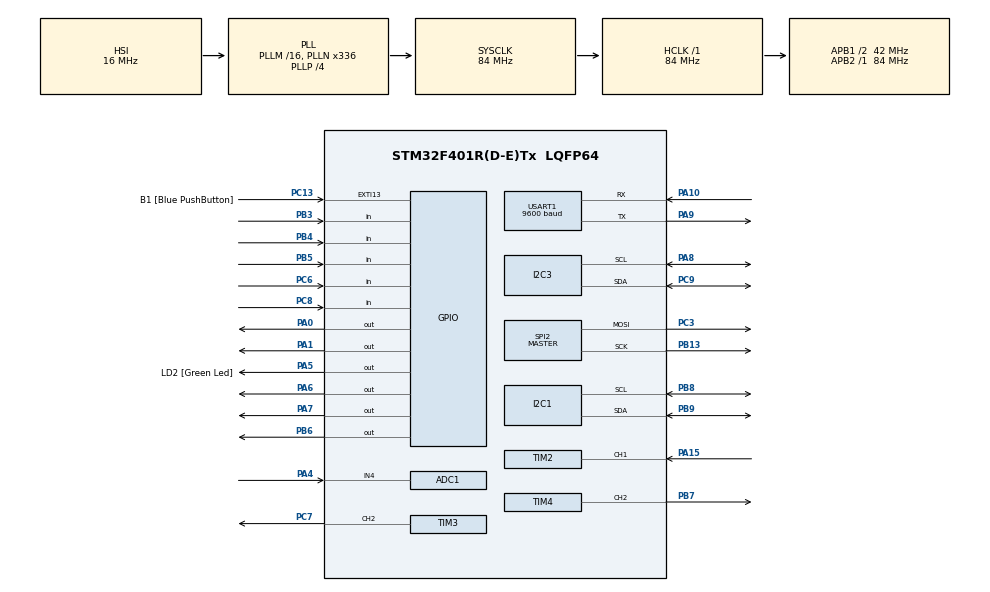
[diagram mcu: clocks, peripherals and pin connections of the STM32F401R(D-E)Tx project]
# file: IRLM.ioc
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ADC1.Channel-1\#ChannelRegularConversion=ADC_CHANNEL_4
ADC1.ClockPrescaler=ADC_CLOCK_SYNC_PCLK_DIV8
ADC1.InjNumberOfConversion=0
ADC1.NbrOfConversionFlag=1
ADC1.Rank-1\#ChannelRegularConversion=1
ADC1.Resolution=ADC_RESOLUTION_12B
ADC1.SamplingTime-1\#ChannelRegularConversion=ADC_SAMPLETIME_28CYCLES
ADC1.master=1
Mcu.Family=STM32F4
Mcu.Name=STM32F401R(D-E)Tx
Mcu.Package=LQFP64
NVIC.PriorityGroup=NVIC_PRIORITYGROUP_0
NVIC.TIM2_IRQn=true\:0\:0\:false\:false\:true\:true\:true\:true
NVIC.TIM5_IRQn=true\:0\:0\:false\:false\:true\:true\:true\:true
NVIC.USART1_IRQn=true\:0\:0\:false\:false\:true\:true\:true\:true
PA0-WKUP.Signal=GPIO_Output
PA1.Signal=GPIO_Output
PA10.Mode=Asynchronous
PA10.Signal=USART1_RX
PA15.Signal=S_TIM2_CH1_ETR
PA2.Signal=USART2_TX
PA3.Signal=USART2_RX
PA4.Signal=ADCx_IN4
PA5.GPIO_Label=LD2 [Green Led]
PA5.GPIO_PuPd=GPIO_NOPULL
PA5.GPIO_Speed=GPIO_SPEED_FREQ_LOW
PA5.Signal=GPIO_Output
PA6.Signal=GPIO_Output
PA7.Signal=GPIO_Output
PA8.Mode=I2C
PA8.Signal=I2C3_SCL
PA9.Mode=Asynchronous
PA9.Signal=USART1_TX
PB13.Mode=TX_Only_Simplex_Unidirect_Master
PB13.Signal=SPI2_SCK
PB3.GPIO_PuPd=GPIO_PULLUP
PB3.Signal=GPIO_Input
PB4.GPIO_PuPd=GPIO_PULLUP
PB4.Signal=GPIO_Input
PB5.GPIO_PuPd=GPIO_PULLUP
PB5.Signal=GPIO_Input
PB6.Signal=GPIO_Output
PB7.Signal=S_TIM4_CH2
PB8.Mode=I2C
PB8.Signal=I2C1_SCL
PB9.Mode=I2C
PB9.Signal=I2C1_SDA
PC13-ANTI_TAMP.GPIO_Label=B1 [Blue PushButton]
PC13-ANTI_TAMP.GPIO_ModeDefaultEXTI=GPIO_MODE_IT_FALLING
PC13-ANTI_TAMP.GPIO_PuPd=GPIO_NOPULL
PC13-ANTI_TAMP.Signal=GPXTI13
PC3.Mode=TX_Only_Simplex_Unidirect_Master
PC3.Signal=SPI2_MOSI
PC6.Signal=GPIO_Input
PC7.Signal=S_TIM3_CH2
PC8.Signal=GPIO_Input
PC9.Mode=I2C
PC9.Signal=I2C3_SDA
ProjectManager.HeapSize=0x200
ProjectManager.StackSize=0x400
ProjectManager.TargetToolchain=STM32CubeIDE
RCC.AHBFreq_Value=84000000
RCC.APB1CLKDivider=RCC_HCLK_DIV2
RCC.APB1Freq_Value=42000000
RCC.APB1TimFreq_Value=84000000
RCC.APB2Freq_Value=84000000
RCC.APB2TimFreq_Value=84000000
RCC.CortexFreq_Value=84000000
RCC.HCLKFreq_Value=84000000
RCC.HSE_VALUE=8000000
RCC.HSI_VALUE=16000000
RCC.LSE_VALUE=32768
RCC.PLLN=336
RCC.PLLP=RCC_PLLP_DIV4
RCC.PLLQ=7
RCC.SYSCLKFreq_VALUE=84000000
RCC.SYSCLKSource=RCC_SYSCLKSOURCE_PLLCLK
RCC.VCOOutputFreq_Value=336000000
SH.ADCx_IN4.0=ADC1_IN4,IN4
SH.S_TIM2_CH1_ETR.0=TIM2_CH1,Input_Capture1_from_TI1
SH.S_TIM3_CH2.0=TIM3_CH2,PWM Generation2 CH2
SH.S_TIM4_CH2.0=TIM4_CH2,PWM Generation2 CH2
SPI2.BaudRatePrescaler=SPI_BAUDRATEPRESCALER_128
SPI2.Direction=SPI_DIRECTION_2LINES
SPI2.Mode=SPI_MODE_MASTER
SPI2.VirtualType=VM_MASTER
TIM1.Prescaler=1869
TIM2.Channel-Input_Capture1_from_TI1=TIM_CHANNEL_1
TIM2.ICPolarity_CH1=TIM_INPUTCHANNELPOLARITY_BOTHEDGE
TIM2.Period=999
TIM2.Prescaler=1869
TIM3.Channel-PWM\ Generation2\ CH2=TIM_CHANNEL_2
TIM3.Period=100
TIM3.Prescaler=21
TIM4.Channel-PWM\ Generation2\ CH2=TIM_CHANNEL_2
TIM4.OCMode_PWM-PWM\ Generation2\ CH2=TIM_OCMODE_PWM2
TIM4.Period=1999
TIM4.Prescaler=511
TIM5.AutoReloadPreload=TIM_AUTORELOAD_PRELOAD_ENABLE
TIM5.Period=49999
TIM5.Prescaler=83
USART1.BaudRate=9600
USART1.VirtualMode=VM_ASYNC
VP_TIM1_VS_ClockSourceINT.Mode=Internal
VP_TIM2_VS_ClockSourceINT.Mode=Internal
VP_TIM3_VS_ClockSourceINT.Mode=Internal
VP_TIM5_VS_ClockSourceINT.Mode=Internal
board=NUCLEO-F401RE

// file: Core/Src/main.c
/* USER CODE BEGIN Header */
/**
 ******************************************************************************
 * @file           : main.c
 * @brief          : Main program body
 ******************************************************************************
 * @attention
 *
 * Copyright (c) 2022 STMicroelectronics.
 * All rights reserved.
 *
 * This software is licensed under terms that can be found in the LICENSE file
 * in the root directory of this software component.
 * If no LICENSE file comes with this software, it is provided AS-IS.
 *
 ******************************************************************************
 */
/* USER CODE END Header */
#include "main.h"

/* USER CODE BEGIN Includes */
#include "buttons.h"
#include "controller.h"
#include "ssd1306.h"
#include "menu.h"
#include "IrTransmit.h"
#include "Accel.h"
/* USER CODE END Includes */

/* USER CODE BEGIN PD */
// how long the buttons flash after being pressed in milliseconds
#define BUTTON_FLASH_DURATION 600
#define dataL 80
/* USER CODE END PD */

ADC_HandleTypeDef hadc1;

I2C_HandleTypeDef hi2c1;
I2C_HandleTypeDef hi2c3;

SPI_HandleTypeDef hspi2;

TIM_HandleTypeDef htim1;
TIM_HandleTypeDef htim2;
TIM_HandleTypeDef htim3;
TIM_HandleTypeDef htim4;
TIM_HandleTypeDef htim5;

UART_HandleTypeDef huart1;

/* USER CODE BEGIN PV */
Menu current_menu;
uint8_t button = 0;
Controller controller;
unsigned char UART1_rxBuffer[8192] = {'\0'};
uint8_t sync = 0;
uint16_t data[dataL] = {0};
int dataPoint = 0;
uint32_t dataLen = dataL;
uint8_t received = 0;
uint32_t awake = 1;
uint8_t pollnow = 0;
uint8_t wakeup = 0;
uint8_t timeoutoff = 0;

uint8_t settings = 0;
/* USER CODE END PV */

void SystemClock_Config(void);
static void MX_GPIO_Init(void);
static void MX_SPI2_Init(void);
static void MX_TIM2_Init(void);
static void MX_USART1_UART_Init(void);
static void MX_I2C1_Init(void);
static void MX_TIM5_Init(void);
static void MX_TIM1_Init(void);
static void MX_TIM3_Init(void);
static void MX_TIM4_Init(void);
static void MX_ADC1_Init(void);
static void MX_I2C3_Init(void);

int main(void)
{

  /* MCU Configuration--------------------------------------------------------*/

  /* Reset of all peripherals, Initializes the Flash interface and the Systick. */
  HAL_Init();

  /* Configure the system clock */
  SystemClock_Config();

  /* Initialize all configured peripherals */
  MX_GPIO_Init();
  MX_SPI2_Init();
  MX_TIM2_Init();
  MX_USART1_UART_Init();
  MX_I2C1_Init();
  MX_TIM5_Init();
  MX_TIM1_Init();
  MX_TIM3_Init();
  MX_TIM4_Init();
  MX_ADC1_Init();
  MX_I2C3_Init();
  /* USER CODE BEGIN 2 */
    init_default_controller(&controller);
    init_displays();
    AccelInit();
    HAL_TIM_Base_Start_IT(&htim5);
    HAL_TIM_PWM_Start(&htim2, TIM_CHANNEL_3);
    HAL_TIM_PWM_Start(&htim4, TIM_CHANNEL_2);
    // HAL_TIM_IC_Start_IT(&htim2, TIM_CHANNEL_1); //Starts timer 2
    __HAL_TIM_SET_COMPARE(&htim3, TIM_CHANNEL_2, 50);
    __HAL_TIM_SET_COMPARE(&htim4, TIM_CHANNEL_2, 999); // Adjust LED Brightness
    initialize_buttons();
    // disable_all_buttons();
    // update_buttons();
  /* USER CODE END 2 */

  /* Infinite loop */
  /* USER CODE BEGIN WHILE */
    display_menu(main_menu, 1, 0);
    uint8_t pressed_button = 0;

    while (1)
    {
    	if (settings) {
    		display_menu(settings_menu, 1, 0);
    		for (uint8_t i = 1; i <= 4; ++i) {
    			enable_button(i);
    		}
    		update_buttons();
    		settings = 0;
    	}
        if(!awake && button){
            resetCounter();
        }
        if (!timeoutoff && wakeup)
        {
            enable_all_buttons();
            update_buttons();
            display_menu(main_menu,1,0);
            wakeup = 0;
        }
        if (!timeoutoff && pollnow)
        {
            uint8_t awakeBefore = awake;
            awake = poll();
            wakeup = (awakeBefore != awake && awake) ? 1 : 0;
            pollnow = 0;
        }
        // update awake status
        if (!awake && !timeoutoff)
        {
            erase_buffer();
            update_all_displays();
            disable_all_buttons();
            update_buttons();
        }
        else
        {
            if (button)
            {
                pressed_button = button;
                while (button)
                    ;
                button_pressed(pressed_button);
            }
            if (!HAL_GPIO_ReadPin(GPIOC, GPIO_PIN_13))
            {
                while (!HAL_GPIO_ReadPin(GPIOC, GPIO_PIN_13))
                    ;
                for (int i = 0; i < 2; ++i)
                    GlobalTransmit();
            }
            // ADC testing code
            uint32_t ADC_VAL;
            HAL_ADC_Start(&hadc1);                         // start conversion
            HAL_ADC_PollForConversion(&hadc1, 0xFFFFFFFF); // wait for conversion to finish
            ADC_VAL = HAL_ADC_GetValue(&hadc1);            // retrieve value

            /*if(ADC_VAL < 500){
                //__HAL_TIM_SET_COMPARE(&htim4, TIM_CHANNEL_2, 200); // Adjust LED Brightness
            }*/
            if (ADC_VAL > 1900)
            {
                __HAL_TIM_SET_COMPARE(&htim4, TIM_CHANNEL_2, 1999); // Adjust LED Brightness
            }
            else
            {
                __HAL_TIM_SET_COMPARE(&htim4, TIM_CHANNEL_2, ADC_VAL + 20); // Adjust LED Brightness
            }
        }

        //	  draw_string("testing", white);
        //	  update_display(3);
        //	  erase_buffer();
        //	  draw_string("please", white);
        //	  update_display(5);
        //	  erase_buffer();
        //	  draw_string("work", white);
        //	  update_display(6);
        //	  HAL_Delay(1000);
        //
        //	  erase_buffer();
        //	  update_all_displays();
        //	  HAL_Delay(1000);
    /* USER CODE END WHILE */

    }
}

void SystemClock_Config(void)
{
  RCC_OscInitTypeDef RCC_OscInitStruct = {0};
  RCC_ClkInitTypeDef RCC_ClkInitStruct = {0};

  /** Configure the main internal regulator output voltage
  */
  __HAL_RCC_PWR_CLK_ENABLE();
  __HAL_PWR_VOLTAGESCALING_CONFIG(PWR_REGULATOR_VOLTAGE_SCALE2);

  /** Initializes the RCC Oscillators according to the specified parameters
  * in the RCC_OscInitTypeDef structure.
  */
  RCC_OscInitStruct.OscillatorType = RCC_OSCILLATORTYPE_HSI;
  RCC_OscInitStruct.HSIState = RCC_HSI_ON;
  RCC_OscInitStruct.HSICalibrationValue = RCC_HSICALIBRATION_DEFAULT;
  RCC_OscInitStruct.PLL.PLLState = RCC_PLL_ON;
  RCC_OscInitStruct.PLL.PLLSource = RCC_PLLSOURCE_HSI;
  RCC_OscInitStruct.PLL.PLLM = 16;
  RCC_OscInitStruct.PLL.PLLN = 336;
  RCC_OscInitStruct.PLL.PLLP = RCC_PLLP_DIV4;
  RCC_OscInitStruct.PLL.PLLQ = 7;
  if (HAL_RCC_OscConfig(&RCC_OscInitStruct) != HAL_OK)
  {
    Error_Handler();
  }

  /** Initializes the CPU, AHB and APB buses clocks
  */
  RCC_ClkInitStruct.ClockType = RCC_CLOCKTYPE_HCLK|RCC_CLOCKTYPE_SYSCLK
                              |RCC_CLOCKTYPE_PCLK1|RCC_CLOCKTYPE_PCLK2;
  RCC_ClkInitStruct.SYSCLKSource = RCC_SYSCLKSOURCE_PLLCLK;
  RCC_ClkInitStruct.AHBCLKDivider = RCC_SYSCLK_DIV1;
  RCC_ClkInitStruct.APB1CLKDivider = RCC_HCLK_DIV2;
  RCC_ClkInitStruct.APB2CLKDivider = RCC_HCLK_DIV1;

  if (HAL_RCC_ClockConfig(&RCC_ClkInitStruct, FLASH_LATENCY_2) != HAL_OK)
  {
    Error_Handler();
  }
}

static void MX_ADC1_Init(void)
{

  ADC_ChannelConfTypeDef sConfig = {0};

  /** Configure the global features of the ADC (Clock, Resolution, Data Alignment and number of conversion)
  */
  hadc1.Instance = ADC1;
  hadc1.Init.ClockPrescaler = ADC_CLOCK_SYNC_PCLK_DIV8;
  hadc1.Init.Resolution = ADC_RESOLUTION_12B;
  hadc1.Init.ScanConvMode = DISABLE;
  hadc1.Init.ContinuousConvMode = DISABLE;
  hadc1.Init.DiscontinuousConvMode = DISABLE;
  hadc1.Init.ExternalTrigConvEdge = ADC_EXTERNALTRIGCONVEDGE_NONE;
  hadc1.Init.ExternalTrigConv = ADC_SOFTWARE_START;
  hadc1.Init.DataAlign = ADC_DATAALIGN_RIGHT;
  hadc1.Init.NbrOfConversion = 1;
  hadc1.Init.DMAContinuousRequests = DISABLE;
  hadc1.Init.EOCSelection = ADC_EOC_SINGLE_CONV;
  if (HAL_ADC_Init(&hadc1) != HAL_OK)
  {
    Error_Handler();
  }

  /** Configure for the selected ADC regular channel its corresponding rank in the sequencer and its sample time.
  */
  sConfig.Channel = ADC_CHANNEL_4;
  sConfig.Rank = 1;
  sConfig.SamplingTime = ADC_SAMPLETIME_28CYCLES;
  if (HAL_ADC_ConfigChannel(&hadc1, &sConfig) != HAL_OK)
  {
    Error_Handler();
  }

}

static void MX_I2C1_Init(void)
{

  hi2c1.Instance = I2C1;
  hi2c1.Init.ClockSpeed = 100000;
  hi2c1.Init.DutyCycle = I2C_DUTYCYCLE_2;
  hi2c1.Init.OwnAddress1 = 0;
  hi2c1.Init.AddressingMode = I2C_ADDRESSINGMODE_7BIT;
  hi2c1.Init.DualAddressMode = I2C_DUALADDRESS_DISABLE;
  hi2c1.Init.OwnAddress2 = 0;
  hi2c1.Init.GeneralCallMode = I2C_GENERALCALL_DISABLE;
  hi2c1.Init.NoStretchMode = I2C_NOSTRETCH_DISABLE;
  if (HAL_I2C_Init(&hi2c1) != HAL_OK)
  {
    Error_Handler();
  }

}

static void MX_I2C3_Init(void)
{

  hi2c3.Instance = I2C3;
  hi2c3.Init.ClockSpeed = 100000;
  hi2c3.Init.DutyCycle = I2C_DUTYCYCLE_2;
  hi2c3.Init.OwnAddress1 = 0;
  hi2c3.Init.AddressingMode = I2C_ADDRESSINGMODE_7BIT;
  hi2c3.Init.DualAddressMode = I2C_DUALADDRESS_DISABLE;
  hi2c3.Init.OwnAddress2 = 0;
  hi2c3.Init.GeneralCallMode = I2C_GENERALCALL_DISABLE;
  hi2c3.Init.NoStretchMode = I2C_NOSTRETCH_DISABLE;
  if (HAL_I2C_Init(&hi2c3) != HAL_OK)
  {
    Error_Handler();
  }

}

static void MX_SPI2_Init(void)
{

  /* SPI2 parameter configuration*/
  hspi2.Instance = SPI2;
  hspi2.Init.Mode = SPI_MODE_MASTER;
  hspi2.Init.Direction = SPI_DIRECTION_2LINES;
  hspi2.Init.DataSize = SPI_DATASIZE_8BIT;
  hspi2.Init.CLKPolarity = SPI_POLARITY_LOW;
  hspi2.Init.CLKPhase = SPI_PHASE_1EDGE;
  hspi2.Init.NSS = SPI_NSS_SOFT;
  hspi2.Init.BaudRatePrescaler = SPI_BAUDRATEPRESCALER_128;
  hspi2.Init.FirstBit = SPI_FIRSTBIT_MSB;
  hspi2.Init.TIMode = SPI_TIMODE_DISABLE;
  hspi2.Init.CRCCalculation = SPI_CRCCALCULATION_DISABLE;
  hspi2.Init.CRCPolynomial = 10;
  if (HAL_SPI_Init(&hspi2) != HAL_OK)
  {
    Error_Handler();
  }

}

static void MX_TIM1_Init(void)
{

  TIM_ClockConfigTypeDef sClockSourceConfig = {0};
  TIM_MasterConfigTypeDef sMasterConfig = {0};

  htim1.Instance = TIM1;
  htim1.Init.Prescaler = 1869;
  htim1.Init.CounterMode = TIM_COUNTERMODE_UP;
  htim1.Init.Period = 65535;
  htim1.Init.ClockDivision = TIM_CLOCKDIVISION_DIV1;
  htim1.Init.RepetitionCounter = 0;
  htim1.Init.AutoReloadPreload = TIM_AUTORELOAD_PRELOAD_DISABLE;
  if (HAL_TIM_Base_Init(&htim1) != HAL_OK)
  {
    Error_Handler();
  }
  sClockSourceConfig.ClockSource = TIM_CLOCKSOURCE_INTERNAL;
  if (HAL_TIM_ConfigClockSource(&htim1, &sClockSourceConfig) != HAL_OK)
  {
    Error_Handler();
  }
  sMasterConfig.MasterOutputTrigger = TIM_TRGO_RESET;
  sMasterConfig.MasterSlaveMode = TIM_MASTERSLAVEMODE_DISABLE;
  if (HAL_TIMEx_MasterConfigSynchronization(&htim1, &sMasterConfig) != HAL_OK)
  {
    Error_Handler();
  }

}

static void MX_TIM2_Init(void)
{

  TIM_ClockConfigTypeDef sClockSourceConfig = {0};
  TIM_MasterConfigTypeDef sMasterConfig = {0};
  TIM_IC_InitTypeDef sConfigIC = {0};

  htim2.Instance = TIM2;
  htim2.Init.Prescaler = 1869;
  htim2.Init.CounterMode = TIM_COUNTERMODE_UP;
  htim2.Init.Period = 999;
  htim2.Init.ClockDivision = TIM_CLOCKDIVISION_DIV1;
  htim2.Init.AutoReloadPreload = TIM_AUTORELOAD_PRELOAD_DISABLE;
  if (HAL_TIM_Base_Init(&htim2) != HAL_OK)
  {
    Error_Handler();
  }
  sClockSourceConfig.ClockSource = TIM_CLOCKSOURCE_INTERNAL;
  if (HAL_TIM_ConfigClockSource(&htim2, &sClockSourceConfig) != HAL_OK)
  {
    Error_Handler();
  }
  if (HAL_TIM_IC_Init(&htim2) != HAL_OK)
  {
    Error_Handler();
  }
  sMasterConfig.MasterOutputTrigger = TIM_TRGO_RESET;
  sMasterConfig.MasterSlaveMode = TIM_MASTERSLAVEMODE_DISABLE;
  if (HAL_TIMEx_MasterConfigSynchronization(&htim2, &sMasterConfig) != HAL_OK)
  {
    Error_Handler();
  }
  sConfigIC.ICPolarity = TIM_INPUTCHANNELPOLARITY_BOTHEDGE;
  sConfigIC.ICSelection = TIM_ICSELECTION_DIRECTTI;
  sConfigIC.ICPrescaler = TIM_ICPSC_DIV1;
  sConfigIC.ICFilter = 0;
  if (HAL_TIM_IC_ConfigChannel(&htim2, &sConfigIC, TIM_CHANNEL_1) != HAL_OK)
  {
    Error_Handler();
  }

}

static void MX_TIM3_Init(void)
{

  TIM_ClockConfigTypeDef sClockSourceConfig = {0};
  TIM_MasterConfigTypeDef sMasterConfig = {0};
  TIM_OC_InitTypeDef sConfigOC = {0};

  htim3.Instance = TIM3;
  htim3.Init.Prescaler = 21;
  htim3.Init.CounterMode = TIM_COUNTERMODE_UP;
  htim3.Init.Period = 100;
  htim3.Init.ClockDivision = TIM_CLOCKDIVISION_DIV1;
  htim3.Init.AutoReloadPreload = TIM_AUTORELOAD_PRELOAD_DISABLE;
  if (HAL_TIM_Base_Init(&htim3) != HAL_OK)
  {
    Error_Handler();
  }
  sClockSourceConfig.ClockSource = TIM_CLOCKSOURCE_INTERNAL;
  if (HAL_TIM_ConfigClockSource(&htim3, &sClockSourceConfig) != HAL_OK)
  {
    Error_Handler();
  }
  if (HAL_TIM_PWM_Init(&htim3) != HAL_OK)
  {
    Error_Handler();
  }
  sMasterConfig.MasterOutputTrigger = TIM_TRGO_RESET;
  sMasterConfig.MasterSlaveMode = TIM_MASTERSLAVEMODE_DISABLE;
  if (HAL_TIMEx_MasterConfigSynchronization(&htim3, &sMasterConfig) != HAL_OK)
  {
    Error_Handler();
  }
  sConfigOC.OCMode = TIM_OCMODE_PWM1;
  sConfigOC.Pulse = 0;
  sConfigOC.OCPolarity = TIM_OCPOLARITY_HIGH;
  sConfigOC.OCFastMode = TIM_OCFAST_DISABLE;
  if (HAL_TIM_PWM_ConfigChannel(&htim3, &sConfigOC, TIM_CHANNEL_2) != HAL_OK)
  {
    Error_Handler();
  }
  HAL_TIM_MspPostInit(&htim3);

}

static void MX_TIM4_Init(void)
{

  TIM_MasterConfigTypeDef sMasterConfig = {0};
  TIM_OC_InitTypeDef sConfigOC = {0};

  htim4.Instance = TIM4;
  htim4.Init.Prescaler = 511;
  htim4.Init.CounterMode = TIM_COUNTERMODE_UP;
  htim4.Init.Period = 1999;
  htim4.Init.ClockDivision = TIM_CLOCKDIVISION_DIV1;
  htim4.Init.AutoReloadPreload = TIM_AUTORELOAD_PRELOAD_DISABLE;
  if (HAL_TIM_PWM_Init(&htim4) != HAL_OK)
  {
    Error_Handler();
  }
  sMasterConfig.MasterOutputTrigger = TIM_TRGO_RESET;
  sMasterConfig.MasterSlaveMode = TIM_MASTERSLAVEMODE_DISABLE;
  if (HAL_TIMEx_MasterConfigSynchronization(&htim4, &sMasterConfig) != HAL_OK)
  {
    Error_Handler();
  }
  sConfigOC.OCMode = TIM_OCMODE_PWM2;
  sConfigOC.Pulse = 0;
  sConfigOC.OCPolarity = TIM_OCPOLARITY_HIGH;
  sConfigOC.OCFastMode = TIM_OCFAST_DISABLE;
  if (HAL_TIM_PWM_ConfigChannel(&htim4, &sConfigOC, TIM_CHANNEL_2) != HAL_OK)
  {
    Error_Handler();
  }
  HAL_TIM_MspPostInit(&htim4);

}

static void MX_TIM5_Init(void)
{

  TIM_ClockConfigTypeDef sClockSourceConfig = {0};
  TIM_MasterConfigTypeDef sMasterConfig = {0};

  htim5.Instance = TIM5;
  htim5.Init.Prescaler = 83;
  htim5.Init.CounterMode = TIM_COUNTERMODE_UP;
  htim5.Init.Period = 49999;
  htim5.Init.ClockDivision = TIM_CLOCKDIVISION_DIV1;
  htim5.Init.AutoReloadPreload = TIM_AUTORELOAD_PRELOAD_ENABLE;
  if (HAL_TIM_Base_Init(&htim5) != HAL_OK)
  {
    Error_Handler();
  }
  sClockSourceConfig.ClockSource = TIM_CLOCKSOURCE_INTERNAL;
  if (HAL_TIM_ConfigClockSource(&htim5, &sClockSourceConfig) != HAL_OK)
  {
    Error_Handler();
  }
  sMasterConfig.MasterOutputTrigger = TIM_TRGO_RESET;
  sMasterConfig.MasterSlaveMode = TIM_MASTERSLAVEMODE_DISABLE;
  if (HAL_TIMEx_MasterConfigSynchronization(&htim5, &sMasterConfig) != HAL_OK)
  {
    Error_Handler();
  }

}

static void MX_USART1_UART_Init(void)
{

  huart1.Instance = USART1;
  huart1.Init.BaudRate = 9600;
  huart1.Init.WordLength = UART_WORDLENGTH_8B;
  huart1.Init.StopBits = UART_STOPBITS_1;
  huart1.Init.Parity = UART_PARITY_NONE;
  huart1.Init.Mode = UART_MODE_TX_RX;
  huart1.Init.HwFlowCtl = UART_HWCONTROL_NONE;
  huart1.Init.OverSampling = UART_OVERSAMPLING_16;
  if (HAL_UART_Init(&huart1) != HAL_OK)
  {
    Error_Handler();
  }

}

static void MX_GPIO_Init(void)
{
  GPIO_InitTypeDef GPIO_InitStruct = {0};

  /* GPIO Ports Clock Enable */
  __HAL_RCC_GPIOC_CLK_ENABLE();
  __HAL_RCC_GPIOA_CLK_ENABLE();
  __HAL_RCC_GPIOB_CLK_ENABLE();

  /*Configure GPIO pin Output Level */
  HAL_GPIO_WritePin(GPIOA, GPIO_PIN_0|GPIO_PIN_1|LD2_Pin|GPIO_PIN_6
                          |GPIO_PIN_7, GPIO_PIN_RESET);

  /*Configure GPIO pin Output Level */
  HAL_GPIO_WritePin(GPIOB, GPIO_PIN_6, GPIO_PIN_RESET);

  /*Configure GPIO pin : B1_Pin */
  GPIO_InitStruct.Pin = B1_Pin;
  GPIO_InitStruct.Mode = GPIO_MODE_IT_FALLING;
  GPIO_InitStruct.Pull = GPIO_NOPULL;
  HAL_GPIO_Init(B1_GPIO_Port, &GPIO_InitStruct);

  /*Configure GPIO pins : PA0 PA1 LD2_Pin PA6
                           PA7 */
  GPIO_InitStruct.Pin = GPIO_PIN_0|GPIO_PIN_1|LD2_Pin|GPIO_PIN_6
                          |GPIO_PIN_7;
  GPIO_InitStruct.Mode = GPIO_MODE_OUTPUT_PP;
  GPIO_InitStruct.Pull = GPIO_NOPULL;
  GPIO_InitStruct.Speed = GPIO_SPEED_FREQ_LOW;
  HAL_GPIO_Init(GPIOA, &GPIO_InitStruct);

  /*Configure GPIO pins : PA2 PA3 */
  GPIO_InitStruct.Pin = GPIO_PIN_2|GPIO_PIN_3;
  GPIO_InitStruct.Mode = GPIO_MODE_AF_PP;
  GPIO_InitStruct.Pull = GPIO_NOPULL;
  GPIO_InitStruct.Speed = GPIO_SPEED_FREQ_VERY_HIGH;
  GPIO_InitStruct.Alternate = GPIO_AF7_USART2;
  HAL_GPIO_Init(GPIOA, &GPIO_InitStruct);

  /*Configure GPIO pins : PC6 PC8 */
  GPIO_InitStruct.Pin = GPIO_PIN_6|GPIO_PIN_8;
  GPIO_InitStruct.Mode = GPIO_MODE_INPUT;
  GPIO_InitStruct.Pull = GPIO_NOPULL;
  HAL_GPIO_Init(GPIOC, &GPIO_InitStruct);

  /*Configure GPIO pins : PB3 PB4 PB5 */
  GPIO_InitStruct.Pin = GPIO_PIN_3|GPIO_PIN_4|GPIO_PIN_5;
  GPIO_InitStruct.Mode = GPIO_MODE_INPUT;
  GPIO_InitStruct.Pull = GPIO_PULLUP;
  HAL_GPIO_Init(GPIOB, &GPIO_InitStruct);

  /*Configure GPIO pin : PB6 */
  GPIO_InitStruct.Pin = GPIO_PIN_6;
  GPIO_InitStruct.Mode = GPIO_MODE_OUTPUT_PP;
  GPIO_InitStruct.Pull = GPIO_NOPULL;
  GPIO_InitStruct.Speed = GPIO_SPEED_FREQ_LOW;
  HAL_GPIO_Init(GPIOB, &GPIO_InitStruct);

}

/* USER CODE BEGIN 4 */
// Callback: timer has rolled over
void HAL_TIM_PeriodElapsedCallback(TIM_HandleTypeDef *htim)
{
    // 50ms Poll Button Timer

    if (htim == &htim5)
    {
        // Save the last button press for flashing
        static uint8_t last_pressed = 0;
        // Count the number of times the interrupt fires for flashing
        static uint8_t i = 0;
        // Set high if the button has been released, low while pressed
        static uint8_t released = 1;

        button = poll_buttons();
        pollnow = 1;
        if (!awake)
            return;
        // If a new button is pressed
        if (button && released)
        {
            // Turn on Button Light
            if (current_menu != settings_menu && current_menu != xbee_menu)
                enable_all_buttons();
            disable_button(button);
            // Invert display
            update_buttons();

            last_pressed = button;
            released = 0;
            i = 0; // Reset counter
        }
        else if (!button && last_pressed)
        {
            // if no button is pressed, flash the last pressed
            // button until reaching BUTTON_FLASH_DURATION.
            released = 1;
            ++i;
            if (!(i % 4))
            {
                // toggle every 200 ms
                if ((current_menu != xbee_menu) && (current_menu != awaiting_menu) && ((current_menu != settings_menu) || (last_pressed == 1 || last_pressed == 2 || last_pressed == 9)))
                    toggle_button(last_pressed);
                // invert display
                update_buttons();
            }
            else if (i > BUTTON_FLASH_DURATION / 50)
            {
                if ((current_menu != xbee_menu) && (current_menu != awaiting_menu) && ((current_menu != settings_menu) || last_pressed == 1 || last_pressed == 2 || last_pressed == 9))
                    enable_button(last_pressed);
                else
                    disable_button(last_pressed);
                update_buttons();
                // set display to not inverted
                // clear the last pressed button and stop flashing
                last_pressed = 0;
            }
        }
    }
}
// Callback, recieved complete set of data from PC
void HAL_UART_RxCpltCallback(UART_HandleTypeDef *huart)
{
	// Ensure this only runs for UART 1
	if (huart != &huart1) return;

	// Argument mode or command mode
	static enum Arg{noarg, xcon, vdev, edev, ecom} argument = noarg;
	static uint8_t argnum = 0;

	// Sync with the PC
    if (!sync) {
    	sync = 1;
    	HAL_UART_Transmit(huart, UART1_rxBuffer, 1, 100);
    	HAL_UART_Receive_IT(huart, UART1_rxBuffer, 4);
    	argument = noarg;
    	return;
    }

    if (argument == noarg) UART1_rxBuffer[4] = '\0';

    switch(argument) {
    case noarg:
        if (!strcmp((char*)UART1_rxBuffer,"quit")) {
        	sync = 0;
        	HAL_UART_Receive_IT(&huart1, UART1_rxBuffer, 1);
        	argument = noarg;
        	return;
        } else if (!strcmp((char*)UART1_rxBuffer,"edev")) {
        	HAL_UART_Receive_IT(&huart1, UART1_rxBuffer, 11);
        	argument = edev;
        	argnum = 0;
        } else if (!strcmp((char*)UART1_rxBuffer,"ecom")) {
			HAL_UART_Receive_IT(&huart1, UART1_rxBuffer, 13);
			argument = ecom;
			argnum = 0;
        } else if (!strcmp((char*)UART1_rxBuffer,"xcon")) {
        	// If the host wants to export, client needs to import
        	HAL_UART_Receive_IT(&huart1, UART1_rxBuffer, 2219);
        	argument = xcon;
        	argnum = 0;
        } else if (!strcmp((char*)UART1_rxBuffer,"icon")) {
        	// If the host wants to import, client needs to export
        	export_configuration(&controller);
        	argument = noarg;
        } else if (!strcmp((char*)UART1_rxBuffer,"vdev")) {
        	HAL_UART_Receive_IT(&huart1, UART1_rxBuffer, 2);
        	argument = vdev;
        	argnum = 0;
        }
        break;
    case xcon:
    	import_device(argnum++);
    	// check how many devices have been inputted so far
    	if (argnum == 18) {
    		// done receiving devices
    		argument = noarg;
    	} else {
    		// receive another device
    		HAL_UART_Transmit(huart, UART1_rxBuffer, 1, 0xFFFF);
    		HAL_UART_Receive_IT(&huart1, UART1_rxBuffer, 2219);
    	}
    	break;
    case vdev:
    	print_device((uint8_t)atoi(UART1_rxBuffer));
    	argument = noarg;
    	break;
    case edev: {
    	uint8_t device;
    	char dev_buf[3];
    	char new_name[10];
    	for (uint8_t i = 0; i < 2; ++i) {
    		dev_buf[i] = UART1_rxBuffer[i];
    	}
    	dev_buf[2] = 0;
    	device = atoi(dev_buf) - 1;
    	for (uint8_t i = 0; i < 10; ++i) {
    		new_name[i] = UART1_rxBuffer[i+2];
    	}
    	rename_device(new_name, device);
    	argument = noarg;
    	break;
    }
    case ecom: {
    	uint8_t device;
    	uint8_t command;
		char num_buf[3];
		char new_name[10];
		for (uint8_t i = 0; i < 2; ++i) {
			num_buf[i] = UART1_rxBuffer[i];
		}
		num_buf[2] = '/0';
		device = atoi(num_buf) - 1;
		for (uint8_t i = 0; i < 2; ++i) {
			num_buf[i] = UART1_rxBuffer[i+2];
		}
		num_buf[2] = '/0';
		command = atoi(num_buf) - 1;
		for (uint8_t i = 0; i < 10; ++i) {
			new_name[i] = UART1_rxBuffer[i+4];
		}
		rename_command(new_name, device, command);
		argument = noarg;
		break;
    }
    default:
    	argument = noarg;
    	break;
    }

    if (argument == noarg) {
    	sync = 0;
    	UART1_rxBuffer[0] = '\0';
    	settings = 1;
    }
}

/* USER CODE END 4 */

void Error_Handler(void)
{
    __disable_irq();
    while (1)
    {
    }
}
